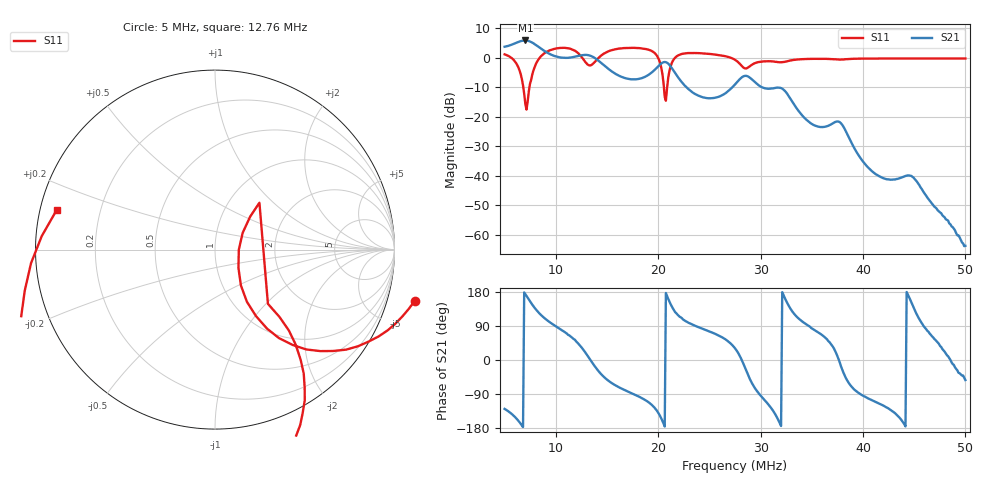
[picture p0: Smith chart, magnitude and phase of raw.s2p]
! S11/S21 only; reverse parameters are placeholders. Device calibration unverified.
! NanoVNA F V2 profile | COM3 | 2026-09-08T11:18:20.6202890-04:00 | device calibration unverified
# HZ S RI R 50
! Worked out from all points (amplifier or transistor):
!   401 points, 5 MHz to 50 MHz, reference 50 ohm
!   highest |S21| = 5.9 dB at 7.025 MHz (marker M1)
!   |S21| within 3 dB of that: start of sweep to 8.651 MHz
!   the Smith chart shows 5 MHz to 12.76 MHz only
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5000000  1.112 -0.2861  -0.9731 -1.204  0 0  0 0
6125000  0.5861 -0.5655  -1.612 -0.8005  0 0  0 0
7025000  0.1306 -0.1008  -1.965 0.2166  0 0  0 0
8150000  0.4943 -0.6901  -1.048 1.23  0 0  0 0
1.04e7  -0.1973 -1.462  0.1423 1.011  0 0  0 0
1.1525e7  -0.8206 -1.142  0.5031 0.8874  0 0  0 0
1.25375e7  -1.025 -0.0752  0.9358 0.5948  0 0  0 0
1.355e7  0.1075 0.7643  1.05 -0.1239  0 0  0 0
1.52375e7  1.312 -0.062  0.3464 -0.5271  0 0  0 0
1.8275e7  1.112 -0.9405  -0.0682 -0.4419  0 0  0 0
2.0075e7  0.2456 -0.9006  -0.587 -0.4523  0 0  0 0
2.075e7  0.1801 -0.0522  -0.8451 0.0478  0 0  0 0
2.12e7  0.6898 0.1629  -0.6123 0.383  0 0  0 0
2.26625e7  1.157 -0.3013  -0.0733 0.3213  0 0  0 0
2.75e7  0.6729 -0.641  0.3037 0.1822  0 0  0 0
2.93e7  0.7287 -0.3113  0.1532 -0.3789  0 0  0 0
3.18875e7  0.6954 -0.4749  -0.3038 -0.0682  0 0  0 0
3.50375e7  0.7037 -0.6556  0.00924 0.0744  0 0  0 0
3.77375e7  0.5876 -0.7284  0.0805 -0.00974  0 0  0 0
4.2575e7  0.4367 -0.8746  -0.00549 -0.00665  0 0  0 0
4.49375e7  0.348 -0.9073  -0.00699 0.00608  0 0  0 0
5e7  0.1577 -0.9636  0.00039 -0.000515  0 0  0 0
